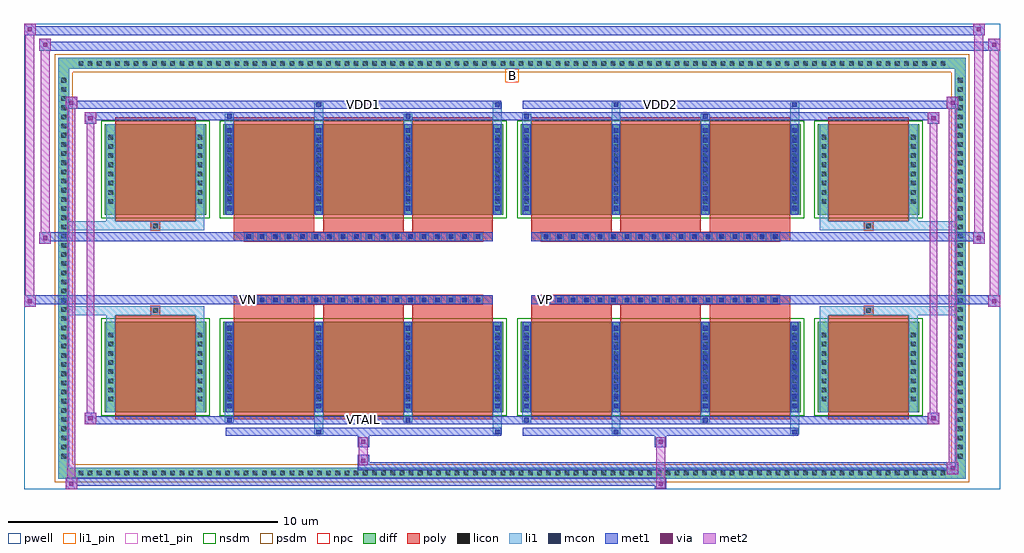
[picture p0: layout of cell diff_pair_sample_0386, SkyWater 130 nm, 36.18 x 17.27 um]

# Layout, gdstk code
import gdstk
lib = gdstk.Library(unit=1e-6, precision=5e-09)
def R(c, l, rs):  # rectangles x0, y0, x1, y1
    for r in rs: c.add(gdstk.rectangle(r[:2], r[2:], *l))
def A(c, l, x, y, w, h, nx, ny, dx, dy):  # array of equal rectangles
    R(c, l, [(x+i*dx, y+j*dy, x+i*dx+w, y+j*dy+h) for i in range(nx) for j in range(ny)])
def P(c, l, *ps):  # polygons
    for p in ps: c.add(gdstk.Polygon(p, *l))
pwell = (64, 44)
diff = (65, 20)
poly = (66, 20)
licon = (66, 44)
li1_pin = (67, 16)
li1 = (67, 20)
mcon = (67, 44)
met1_pin = (68, 16)
met1 = (68, 20)
via = (68, 44)
met2 = (69, 20)
nsdm = (93, 44)
psdm = (94, 20)
npc = (95, 20)

diff_pair_sample_0386 = lib.new_cell('diff_pair_sample_0386')
R(diff_pair_sample_0386, pwell, [(-18.09,-8.2,18.09,9.07), (-15.41,-6.39,-0.01,-0.805), (0.01,-6.39,15.41,-0.805), (-15.41,0.805,-0.01,6.39), (0.01,0.805,15.41,6.39)])
A(diff_pair_sample_0386, diff, -16.185, -7.8, 0.41, 0.41, 95, 2, 0.34, 15.19)
A(diff_pair_sample_0386, diff, -16.82, -7.175, 0.41, 0.41, 1, 42, 0, 0.34)
A(diff_pair_sample_0386, diff, 16.41, -7.175, 0.41, 0.41, 1, 42, 0, 0.34)
R(diff_pair_sample_0386, diff, [(-16.185,-7.8,16.185,-7.39), (-16.82,-7.175,-16.41,7.175), (16.41,-7.175,16.82,7.175), (-15.1,-5.345,-11.34,-1.985), (-10.7,-5.345,-0.32,-1.985), (0.32,-5.345,10.7,-1.985), (11.34,-5.345,15.1,-1.985), (-15.1,1.985,-11.34,5.345), (-10.7,1.985,-0.32,5.345), (0.32,1.985,10.7,5.345), (11.34,1.985,15.1,5.345), (-16.185,7.39,16.185,7.8)])
P(diff_pair_sample_0386, diff, [(16.82,7.8),(-16.82,7.8),(-16.82,-7.39),(-16.41,-7.39),(-16.41,7.39),(16.41,7.39),(16.41,-7.39),(-16.41,-7.39),(-16.82,-7.39),(-16.82,-7.8),(16.82,-7.8)])
A(diff_pair_sample_0386, poly, -10.31, -5.595, 2.98, 3.86, 3, 2, 3.31, 7.33)
A(diff_pair_sample_0386, poly, 0.71, -5.595, 2.98, 3.86, 3, 2, 3.31, 7.33)
A(diff_pair_sample_0386, poly, -10.31, -1.735, 2.98, 0.4, 3, 2, 3.31, 3.07)
A(diff_pair_sample_0386, poly, 0.71, -1.735, 2.98, 0.4, 3, 2, 3.31, 3.07)
A(diff_pair_sample_0386, poly, -9.925, -1.335, 0.33, 0.33, 18, 2, 0.5, 2.34)
A(diff_pair_sample_0386, poly, 1.095, -1.335, 0.33, 0.33, 18, 2, 0.5, 2.34)
R(diff_pair_sample_0386, poly, [(-14.71,-5.595,-11.73,-1.735), (11.73,-5.595,14.71,-1.735), (-13.385,-1.735,-13.055,-1.405), (-13.385,-1.735,-13.055,-1.405), (13.055,-1.735,13.385,-1.405), (13.055,-1.735,13.385,-1.405), (-10.31,-1.335,-0.71,-1.005), (0.71,-1.335,10.31,-1.005), (-10.31,1.005,-0.71,1.335), (0.71,1.005,10.31,1.335), (-13.385,1.405,-13.055,1.735), (-13.385,1.405,-13.055,1.735), (13.055,1.405,13.385,1.735), (13.055,1.405,13.385,1.735), (-14.71,1.735,-11.73,5.595), (11.73,1.735,14.71,5.595)])
A(diff_pair_sample_0386, licon, -16.065, -7.68, 0.17, 0.17, 95, 2, 0.34, 15.19)
A(diff_pair_sample_0386, licon, -16.7, -7.055, 0.17, 0.17, 1, 42, 0, 0.34)
A(diff_pair_sample_0386, licon, 16.53, -7.055, 0.17, 0.17, 1, 42, 0, 0.34)
A(diff_pair_sample_0386, licon, -14.96, -4.94, 0.17, 0.17, 1, 8, 0, 0.34)
A(diff_pair_sample_0386, licon, -11.65, -4.94, 0.17, 0.17, 1, 8, 0, 0.34)
A(diff_pair_sample_0386, licon, -10.56, -4.94, 0.17, 0.17, 4, 8, 3.31, 0.34)
A(diff_pair_sample_0386, licon, 0.46, -4.94, 0.17, 0.17, 4, 8, 3.31, 0.34)
A(diff_pair_sample_0386, licon, 11.48, -4.94, 0.17, 0.17, 1, 8, 0, 0.34)
A(diff_pair_sample_0386, licon, 14.79, -4.94, 0.17, 0.17, 1, 8, 0, 0.34)
A(diff_pair_sample_0386, licon, -9.845, -1.255, 0.17, 0.17, 18, 2, 0.5, 2.34)
A(diff_pair_sample_0386, licon, 1.175, -1.255, 0.17, 0.17, 18, 2, 0.5, 2.34)
A(diff_pair_sample_0386, licon, -14.96, 2.39, 0.17, 0.17, 1, 8, 0, 0.34)
A(diff_pair_sample_0386, licon, -11.65, 2.39, 0.17, 0.17, 1, 8, 0, 0.34)
A(diff_pair_sample_0386, licon, -10.56, 2.39, 0.17, 0.17, 4, 8, 3.31, 0.34)
A(diff_pair_sample_0386, licon, 0.46, 2.39, 0.17, 0.17, 4, 8, 3.31, 0.34)
A(diff_pair_sample_0386, licon, 11.48, 2.39, 0.17, 0.17, 1, 8, 0, 0.34)
A(diff_pair_sample_0386, licon, 14.79, 2.39, 0.17, 0.17, 1, 8, 0, 0.34)
R(diff_pair_sample_0386, licon, [(-13.305,-1.655,-13.135,-1.485), (13.135,-1.655,13.305,-1.485), (-13.305,1.485,-13.135,1.655), (13.135,1.485,13.305,1.655)])
R(diff_pair_sample_0386, li1_pin, [(-0.25,6.89,0.25,7.39)])
A(diff_pair_sample_0386, li1, -16.145, -7.76, 0.33, 0.33, 95, 2, 0.34, 15.19)
A(diff_pair_sample_0386, li1, -16.78, -7.135, 0.33, 0.33, 1, 42, 0, 0.34)
A(diff_pair_sample_0386, li1, 16.45, -7.135, 0.33, 0.33, 1, 42, 0, 0.34)
A(diff_pair_sample_0386, li1, -10.64, -5.345, 0.33, 3.36, 4, 2, 3.31, 7.33)
A(diff_pair_sample_0386, li1, 0.38, -5.345, 0.33, 3.36, 4, 2, 3.31, 7.33)
A(diff_pair_sample_0386, li1, -10.56, -5.19, 0.17, 0.17, 4, 9, 3.31, 0.36)
A(diff_pair_sample_0386, li1, -10.56, -5.19, 0.17, 3.05, 4, 2, 3.31, 7.33)
A(diff_pair_sample_0386, li1, 0.46, -5.19, 0.17, 0.17, 4, 9, 3.31, 0.36)
A(diff_pair_sample_0386, li1, 0.46, -5.19, 0.17, 3.05, 4, 2, 3.31, 7.33)
A(diff_pair_sample_0386, li1, -15.04, -5.02, 0.33, 0.33, 1, 8, 0, 0.34)
A(diff_pair_sample_0386, li1, -11.73, -5.02, 0.33, 0.33, 1, 8, 0, 0.34)
A(diff_pair_sample_0386, li1, -10.64, -5.02, 0.33, 0.33, 4, 8, 3.31, 0.34)
A(diff_pair_sample_0386, li1, 0.38, -5.02, 0.33, 0.33, 4, 8, 3.31, 0.34)
A(diff_pair_sample_0386, li1, 11.4, -5.02, 0.33, 0.33, 1, 8, 0, 0.34)
A(diff_pair_sample_0386, li1, 14.71, -5.02, 0.33, 0.33, 1, 8, 0, 0.34)
A(diff_pair_sample_0386, li1, -9.925, -1.335, 0.33, 0.33, 18, 2, 0.5, 2.34)
A(diff_pair_sample_0386, li1, 1.095, -1.335, 0.33, 0.33, 18, 2, 0.5, 2.34)
A(diff_pair_sample_0386, li1, -10.56, 2.14, 0.17, 0.17, 4, 9, 3.31, 0.36)
A(diff_pair_sample_0386, li1, 0.46, 2.14, 0.17, 0.17, 4, 9, 3.31, 0.36)
A(diff_pair_sample_0386, li1, -15.04, 2.31, 0.33, 0.33, 1, 8, 0, 0.34)
A(diff_pair_sample_0386, li1, -11.73, 2.31, 0.33, 0.33, 1, 8, 0, 0.34)
A(diff_pair_sample_0386, li1, -10.64, 2.31, 0.33, 0.33, 4, 8, 3.31, 0.34)
A(diff_pair_sample_0386, li1, 0.38, 2.31, 0.33, 0.33, 4, 8, 3.31, 0.34)
A(diff_pair_sample_0386, li1, 11.4, 2.31, 0.33, 0.33, 1, 8, 0, 0.34)
A(diff_pair_sample_0386, li1, 14.71, 2.31, 0.33, 0.33, 1, 8, 0, 0.34)
R(diff_pair_sample_0386, li1, [(-16.82,-7.8,-16.41,-7.39), (-16.82,-7.8,-16.41,-7.39), (-16.41,-7.8,16.41,-7.39), (16.41,-7.8,16.82,-7.39), (16.41,-7.8,16.82,-7.39), (-16.82,-7.39,-16.41,7.39), (16.41,-7.39,16.82,7.39), (-7.33,-6.15,-7,-5.345), (-7.25,-6.15,-7.08,-5.98), (-0.71,-6.15,-0.38,-5.345), (-0.63,-6.15,-0.46,-5.98), (3.69,-6.15,4.02,-5.345), (3.77,-6.15,3.94,-5.98), (10.31,-6.15,10.64,-5.345), (10.39,-6.15,10.56,-5.98), (-10.64,-5.72,-10.31,-5.345), (-10.56,-5.72,-10.39,-5.55), (-4.02,-5.72,-3.69,-5.345), (-3.94,-5.72,-3.77,-5.55), (0.38,-5.72,0.71,-5.345), (0.46,-5.72,0.63,-5.55), (7,-5.72,7.33,-5.345), (7.08,-5.72,7.25,-5.55), (-15.04,-5.345,-14.71,-1.985), (-11.73,-5.345,-11.4,-1.985), (11.4,-5.345,11.73,-1.985), (14.71,-5.345,15.04,-1.985), (-15.04,-1.985,-14.71,-1.405), (-11.73,-1.985,-11.4,-1.405), (11.4,-1.985,11.73,-1.405), (14.71,-1.985,15.04,-1.405), (-16.82,-1.735,-13.385,-1.405), (-15.04,-1.735,-13.385,-1.405), (-13.385,-1.735,-13.055,-1.405), (-13.055,-1.735,-11.4,-1.405), (11.4,-1.735,13.055,-1.405), (13.055,-1.735,13.385,-1.405), (13.055,-1.735,16.82,-1.405), (13.385,-1.735,15.04,-1.405), (-16.82,1.405,-13.385,1.735), (-15.04,1.405,-13.385,1.735), (-15.04,1.405,-14.71,1.985), (-13.385,1.405,-13.055,1.735), (-13.055,1.405,-11.4,1.735), (-11.73,1.405,-11.4,1.985), (11.4,1.405,13.055,1.735), (11.4,1.405,11.73,1.985), (13.055,1.405,13.385,1.735), (13.055,1.405,16.82,1.735), (13.385,1.405,15.04,1.735), (14.71,1.405,15.04,1.985), (-15.04,1.985,-14.71,5.345), (-11.73,1.985,-11.4,5.345), (11.4,1.985,11.73,5.345), (14.71,1.985,15.04,5.345), (-10.64,5.345,-10.31,5.72), (-7.33,5.345,-7,6.15), (-4.02,5.345,-3.69,5.72), (-0.71,5.345,-0.38,6.15), (0.38,5.345,0.71,5.72), (3.69,5.345,4.02,6.15), (7,5.345,7.33,5.72), (10.31,5.345,10.64,6.15), (-10.56,5.55,-10.39,5.72), (-3.94,5.55,-3.77,5.72), (0.46,5.55,0.63,5.72), (7.08,5.55,7.25,5.72), (-7.25,5.98,-7.08,6.15), (-0.63,5.98,-0.46,6.15), (3.77,5.98,3.94,6.15), (10.39,5.98,10.56,6.15), (-16.82,7.39,-16.41,7.8), (-16.82,7.39,-16.41,7.8), (-16.41,7.39,16.41,7.8), (16.41,7.39,16.82,7.8), (16.41,7.39,16.82,7.8)])
A(diff_pair_sample_0386, mcon, -10.56, -5.19, 0.17, 0.17, 4, 9, 3.31, 0.36)
A(diff_pair_sample_0386, mcon, 0.46, -5.19, 0.17, 0.17, 4, 9, 3.31, 0.36)
A(diff_pair_sample_0386, mcon, -9.845, -1.255, 0.17, 0.17, 18, 2, 0.5, 2.34)
A(diff_pair_sample_0386, mcon, 1.175, -1.255, 0.17, 0.17, 18, 2, 0.5, 2.34)
A(diff_pair_sample_0386, mcon, -10.56, 2.14, 0.17, 0.17, 4, 9, 3.31, 0.36)
A(diff_pair_sample_0386, mcon, 0.46, 2.14, 0.17, 0.17, 4, 9, 3.31, 0.36)
R(diff_pair_sample_0386, mcon, [(-7.25,-6.15,-7.08,-5.98), (-0.63,-6.15,-0.46,-5.98), (3.77,-6.15,3.94,-5.98), (10.39,-6.15,10.56,-5.98), (-10.56,-5.72,-10.39,-5.55), (-3.94,-5.72,-3.77,-5.55), (0.46,-5.72,0.63,-5.55), (7.08,-5.72,7.25,-5.55), (-10.56,5.55,-10.39,5.72), (-3.94,5.55,-3.77,5.72), (0.46,5.55,0.63,5.72), (7.08,5.55,7.25,5.72), (-7.25,5.98,-7.08,6.15), (-0.63,5.98,-0.46,6.15), (3.77,5.98,3.94,6.15), (10.39,5.98,10.56,6.15)])
R(diff_pair_sample_0386, met1_pin, [(-5.645,-5.76,-5.375,-5.49), (-9.895,-1.295,-9.625,-1.025), (1.125,-1.295,1.395,-1.025), (-5.645,5.94,-5.375,6.21), (5.375,5.94,5.645,6.21)])
A(diff_pair_sample_0386, met1, -10.62, -5.345, 0.29, 3.36, 4, 2, 3.31, 7.33)
A(diff_pair_sample_0386, met1, 0.4, -5.345, 0.29, 3.36, 4, 2, 3.31, 7.33)
A(diff_pair_sample_0386, met1, -10.62, -5.25, 0.29, 0.29, 4, 9, 3.31, 0.36)
A(diff_pair_sample_0386, met1, 0.4, -5.25, 0.29, 0.29, 4, 9, 3.31, 0.36)
A(diff_pair_sample_0386, met1, -9.905, -1.315, 0.29, 0.29, 18, 2, 0.5, 2.34)
A(diff_pair_sample_0386, met1, 1.115, -1.315, 0.29, 0.29, 18, 2, 0.5, 2.34)
A(diff_pair_sample_0386, met1, -10.62, 2.08, 0.29, 0.29, 4, 9, 3.31, 0.36)
A(diff_pair_sample_0386, met1, 0.4, 2.08, 0.29, 0.29, 4, 9, 3.31, 0.36)
R(diff_pair_sample_0386, met1, [(-16.55,-8.2,-16.12,-7.77), (5.295,-8.2,5.725,-7.77), (-16.55,-8.06,5.725,-7.77), (16.12,-7.63,16.55,-7.2), (-5.725,-7.49,16.55,-7.2), (-5.725,-7.35,-5.295,-6.92), (-5.725,-6.64,-5.295,-6.21), (5.295,-6.64,5.725,-6.21), (-10.62,-6.21,-0.4,-5.92), (-7.31,-6.21,-7.02,-5.92), (-0.69,-6.21,-0.4,-5.92), (0.4,-6.21,10.62,-5.92), (3.71,-6.21,4,-5.92), (10.33,-6.21,10.62,-5.92), (-15.84,-5.78,-15.41,-5.35), (-15.84,-5.78,-10.62,-5.49), (-10.62,-5.78,-10.33,-5.49), (-10.62,-5.78,-0.4,-5.49), (-4,-5.78,-3.71,-5.49), (-0.4,-5.78,0.4,-5.49), (0.4,-5.78,0.69,-5.49), (0.4,-5.78,10.62,-5.49), (7.02,-5.78,7.31,-5.49), (10.62,-5.78,15.84,-5.49), (15.41,-5.78,15.84,-5.35), (-18.09,-1.435,-17.66,-1.005), (17.66,-1.435,18.09,-1.005), (-18.09,-1.335,-0.71,-1.005), (-10.31,-1.335,-0.71,-1.005), (0.71,-1.335,10.31,-1.005), (0.71,-1.335,18.09,-1.005), (-17.52,0.905,-17.09,1.335), (17.09,0.905,17.52,1.335), (-17.52,1.005,-10.31,1.335), (-10.31,1.005,-0.71,1.335), (0.71,1.005,10.31,1.335), (10.31,1.005,17.52,1.335), (-15.84,5.35,-15.41,5.78), (15.41,5.35,15.84,5.78), (-15.84,5.49,-10.62,5.78), (-10.62,5.49,-10.33,5.78), (-10.62,5.49,-0.4,5.78), (-4,5.49,-3.71,5.78), (-0.4,5.49,0.4,5.78), (0.4,5.49,0.69,5.78), (0.4,5.49,10.62,5.78), (7.02,5.49,7.31,5.78), (10.62,5.49,15.84,5.78), (-16.55,5.92,-16.12,6.35), (-16.55,5.92,-10.62,6.21), (-10.62,5.92,-0.4,6.21), (-7.31,5.92,-7.02,6.21), (-0.69,5.92,-0.4,6.21), (0.4,5.92,10.62,6.21), (3.71,5.92,4,6.21), (10.33,5.92,10.62,6.21), (10.62,5.92,16.55,6.21), (16.12,5.92,16.55,6.35), (-17.52,8.07,-17.09,8.5), (-17.52,8.07,-15.41,8.4), (-15.41,8.07,15.41,8.4), (15.41,8.07,18.09,8.4), (17.66,8.07,18.09,8.5), (-18.09,8.64,-17.66,9.07), (-18.09,8.64,-15.41,8.97), (-15.41,8.64,15.41,8.97), (15.41,8.64,17.52,8.97), (17.09,8.64,17.52,9.07)])
R(diff_pair_sample_0386, via, [(-16.41,-8.06,-16.26,-7.91), (5.435,-8.06,5.585,-7.91), (16.26,-7.49,16.41,-7.34), (-5.585,-7.21,-5.435,-7.06), (-5.585,-6.5,-5.435,-6.35), (5.435,-6.5,5.585,-6.35), (-15.7,-5.64,-15.55,-5.49), (15.55,-5.64,15.7,-5.49), (-17.95,-1.295,-17.8,-1.145), (17.8,-1.295,17.95,-1.145), (-17.38,1.045,-17.23,1.195), (17.23,1.045,17.38,1.195), (-15.7,5.49,-15.55,5.64), (15.55,5.49,15.7,5.64), (-16.41,6.06,-16.26,6.21), (16.26,6.06,16.41,6.21), (-17.38,8.21,-17.23,8.36), (17.8,8.21,17.95,8.36), (-17.95,8.78,-17.8,8.93), (17.23,8.78,17.38,8.93)])
R(diff_pair_sample_0386, met2, [(-16.55,-8.2,-16.12,-7.77), (-16.48,-8.2,-16.19,6.35), (-16.19,-8.2,-16.12,-7.77), (-16.5,-8.15,-16.17,-7.82), (5.345,-8.15,5.675,-7.82), (5.345,-7.82,5.675,-6.59), (16.12,-7.63,16.55,-7.2), (16.19,-7.63,16.48,6.35), (16.48,-7.63,16.55,-7.2), (16.17,-7.58,16.5,-7.25), (-5.675,-7.3,-5.345,-6.97), (-5.675,-6.97,-5.345,-6.59), (-5.675,-6.59,-5.345,-6.26), (5.345,-6.59,5.675,-6.26), (-15.84,-5.78,-15.41,-5.35), (-15.77,-5.78,-15.48,5.78), (-15.48,-5.78,-15.41,-5.35), (15.41,-5.78,15.84,-5.35), (15.48,-5.78,15.77,5.78), (15.77,-5.78,15.84,-5.35), (-15.79,-5.73,-15.46,-5.4), (15.46,-5.73,15.79,-5.4), (-18.09,-1.435,-17.66,-1.005), (-18.04,-1.435,-17.71,9.07), (-17.71,-1.435,-17.66,-1.005), (17.66,-1.435,18.09,-1.005), (17.71,-1.435,18.04,8.5), (18.04,-1.435,18.09,-1.005), (-18.04,-1.385,-17.71,-1.055), (17.71,-1.385,18.04,-1.055), (-17.52,0.905,-17.09,1.335), (-17.47,0.905,-17.14,8.5), (-17.14,0.905,-17.09,1.335), (17.09,0.905,17.52,1.335), (17.14,0.905,17.47,9.07), (17.47,0.905,17.52,1.335), (-17.47,0.955,-17.14,1.285), (17.14,0.955,17.47,1.285), (-15.84,5.35,-15.41,5.78), (-15.48,5.35,-15.41,5.78), (15.41,5.35,15.84,5.78), (15.77,5.35,15.84,5.78), (-15.79,5.4,-15.46,5.73), (15.46,5.4,15.79,5.73), (-16.55,5.92,-16.12,6.35), (-16.19,5.92,-16.12,6.35), (16.12,5.92,16.55,6.35), (16.48,5.92,16.55,6.35), (-16.5,5.97,-16.17,6.3), (16.17,5.97,16.5,6.3), (-17.52,8.07,-17.09,8.5), (-17.14,8.07,-17.09,8.5), (17.66,8.07,18.09,8.5), (18.04,8.07,18.09,8.5), (-17.47,8.12,-17.14,8.45), (17.71,8.12,18.04,8.45), (-18.09,8.64,-17.66,9.07), (-17.71,8.64,-17.66,9.07), (17.09,8.64,17.52,9.07), (17.47,8.64,17.52,9.07), (-18.04,8.69,-17.71,9.02), (17.14,8.69,17.47,9.02)])
R(diff_pair_sample_0386, nsdm, [(-15.23,-5.475,-11.21,-1.855), (-10.83,-5.475,-0.19,-1.855), (0.19,-5.475,10.83,-1.855), (11.21,-5.475,15.23,-1.855), (-15.23,1.855,-11.21,5.475), (-10.83,1.855,-0.19,5.475), (0.19,1.855,10.83,5.475), (11.21,1.855,15.23,5.475)])
P(diff_pair_sample_0386, psdm, [(16.95,7.93),(-16.95,7.93),(-16.95,-7.26),(-16.28,-7.26),(-16.28,7.26),(16.28,7.26),(16.28,-7.26),(-16.28,-7.26),(-16.95,-7.26),(-16.95,-7.93),(16.95,-7.93)])
A(diff_pair_sample_0386, npc, -9.945, -1.355, 0.37, 0.37, 18, 2, 0.5, 2.34)
A(diff_pair_sample_0386, npc, 1.075, -1.355, 0.37, 0.37, 18, 2, 0.5, 2.34)
R(diff_pair_sample_0386, npc, [(-13.405,-1.755,-13.035,-1.385), (13.035,-1.755,13.405,-1.385), (-9.945,-1.355,-9.075,-0.985), (-9.945,-1.355,-9.075,-0.985), (-9.445,-1.355,-8.575,-0.985), (-9.445,-1.355,-8.575,-0.985), (-8.945,-1.355,-8.075,-0.985), (-8.945,-1.355,-8.075,-0.985), (-8.445,-1.355,-7.575,-0.985), (-8.445,-1.355,-7.575,-0.985), (-7.945,-1.355,-7.075,-0.985), (-7.945,-1.355,-7.075,-0.985), (-7.445,-1.355,-6.575,-0.985), (-7.445,-1.355,-6.575,-0.985), (-6.945,-1.355,-6.075,-0.985), (-6.945,-1.355,-6.075,-0.985), (-6.445,-1.355,-5.575,-0.985), (-6.445,-1.355,-5.575,-0.985), (-5.945,-1.355,-5.075,-0.985), (-5.945,-1.355,-5.075,-0.985), (-5.445,-1.355,-4.575,-0.985), (-5.445,-1.355,-4.575,-0.985), (-4.945,-1.355,-4.075,-0.985), (-4.945,-1.355,-4.075,-0.985), (-4.445,-1.355,-3.575,-0.985), (-4.445,-1.355,-3.575,-0.985), (-3.945,-1.355,-3.075,-0.985), (-3.945,-1.355,-3.075,-0.985), (-3.445,-1.355,-2.575,-0.985), (-3.445,-1.355,-2.575,-0.985), (-2.945,-1.355,-2.075,-0.985), (-2.945,-1.355,-2.075,-0.985), (-2.445,-1.355,-1.575,-0.985), (-2.445,-1.355,-1.575,-0.985), (-1.945,-1.355,-1.075,-0.985), (-1.945,-1.355,-1.075,-0.985), (1.075,-1.355,1.945,-0.985), (1.075,-1.355,1.945,-0.985), (1.575,-1.355,2.445,-0.985), (1.575,-1.355,2.445,-0.985), (2.075,-1.355,2.945,-0.985), (2.075,-1.355,2.945,-0.985), (2.575,-1.355,3.445,-0.985), (2.575,-1.355,3.445,-0.985), (3.075,-1.355,3.945,-0.985), (3.075,-1.355,3.945,-0.985), (3.575,-1.355,4.445,-0.985), (3.575,-1.355,4.445,-0.985), (4.075,-1.355,4.945,-0.985), (4.075,-1.355,4.945,-0.985), (4.575,-1.355,5.445,-0.985), (4.575,-1.355,5.445,-0.985), (5.075,-1.355,5.945,-0.985), (5.075,-1.355,5.945,-0.985), (5.575,-1.355,6.445,-0.985), (5.575,-1.355,6.445,-0.985), (6.075,-1.355,6.945,-0.985), (6.075,-1.355,6.945,-0.985), (6.575,-1.355,7.445,-0.985), (6.575,-1.355,7.445,-0.985), (7.075,-1.355,7.945,-0.985), (7.075,-1.355,7.945,-0.985), (7.575,-1.355,8.445,-0.985), (7.575,-1.355,8.445,-0.985), (8.075,-1.355,8.945,-0.985), (8.075,-1.355,8.945,-0.985), (8.575,-1.355,9.445,-0.985), (8.575,-1.355,9.445,-0.985), (9.075,-1.355,9.945,-0.985), (9.075,-1.355,9.945,-0.985), (-9.945,0.985,-9.075,1.355), (-9.945,0.985,-9.075,1.355), (-9.445,0.985,-8.575,1.355), (-9.445,0.985,-8.575,1.355), (-8.945,0.985,-8.075,1.355), (-8.945,0.985,-8.075,1.355), (-8.445,0.985,-7.575,1.355), (-8.445,0.985,-7.575,1.355), (-7.945,0.985,-7.075,1.355), (-7.945,0.985,-7.075,1.355), (-7.445,0.985,-6.575,1.355), (-7.445,0.985,-6.575,1.355), (-6.945,0.985,-6.075,1.355), (-6.945,0.985,-6.075,1.355), (-6.445,0.985,-5.575,1.355), (-6.445,0.985,-5.575,1.355), (-5.945,0.985,-5.075,1.355), (-5.945,0.985,-5.075,1.355), (-5.445,0.985,-4.575,1.355), (-5.445,0.985,-4.575,1.355), (-4.945,0.985,-4.075,1.355), (-4.945,0.985,-4.075,1.355), (-4.445,0.985,-3.575,1.355), (-4.445,0.985,-3.575,1.355), (-3.945,0.985,-3.075,1.355), (-3.945,0.985,-3.075,1.355), (-3.445,0.985,-2.575,1.355), (-3.445,0.985,-2.575,1.355), (-2.945,0.985,-2.075,1.355), (-2.945,0.985,-2.075,1.355), (-2.445,0.985,-1.575,1.355), (-2.445,0.985,-1.575,1.355), (-1.945,0.985,-1.075,1.355), (-1.945,0.985,-1.075,1.355), (1.075,0.985,1.945,1.355), (1.075,0.985,1.945,1.355), (1.575,0.985,2.445,1.355), (1.575,0.985,2.445,1.355), (2.075,0.985,2.945,1.355), (2.075,0.985,2.945,1.355), (2.575,0.985,3.445,1.355), (2.575,0.985,3.445,1.355), (3.075,0.985,3.945,1.355), (3.075,0.985,3.945,1.355), (3.575,0.985,4.445,1.355), (3.575,0.985,4.445,1.355), (4.075,0.985,4.945,1.355), (4.075,0.985,4.945,1.355), (4.575,0.985,5.445,1.355), (4.575,0.985,5.445,1.355), (5.075,0.985,5.945,1.355), (5.075,0.985,5.945,1.355), (5.575,0.985,6.445,1.355), (5.575,0.985,6.445,1.355), (6.075,0.985,6.945,1.355), (6.075,0.985,6.945,1.355), (6.575,0.985,7.445,1.355), (6.575,0.985,7.445,1.355), (7.075,0.985,7.945,1.355), (7.075,0.985,7.945,1.355), (7.575,0.985,8.445,1.355), (7.575,0.985,8.445,1.355), (8.075,0.985,8.945,1.355), (8.075,0.985,8.945,1.355), (8.575,0.985,9.445,1.355), (8.575,0.985,9.445,1.355), (9.075,0.985,9.945,1.355), (9.075,0.985,9.945,1.355), (-13.405,1.385,-13.035,1.755), (13.035,1.385,13.405,1.755)])
diff_pair_sample_0386.add(gdstk.Label('VTAIL', (-5.51,-5.625), layer=68, texttype=5))
diff_pair_sample_0386.add(gdstk.Label('VN', (-9.76,-1.16), layer=68, texttype=5))
diff_pair_sample_0386.add(gdstk.Label('VP', (1.26,-1.16), layer=68, texttype=5))
diff_pair_sample_0386.add(gdstk.Label('B', (0,7.14), layer=67, texttype=5))
diff_pair_sample_0386.add(gdstk.Label('VDD2', (5.51,6.075), layer=68, texttype=5))
diff_pair_sample_0386.add(gdstk.Label('VDD1', (-5.51,6.075), layer=68, texttype=5))

lib.write_gds('diff_pair_sample_0386.gds')
